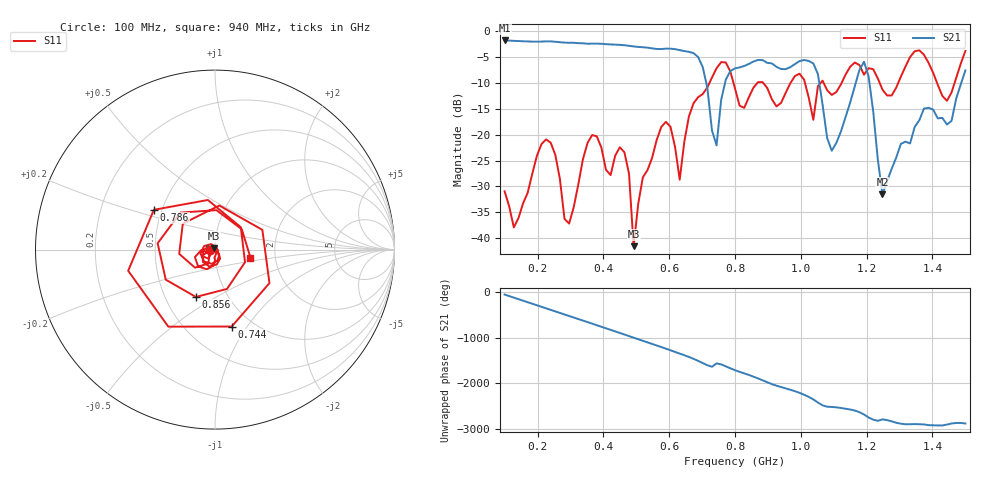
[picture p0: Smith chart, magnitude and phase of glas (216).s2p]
! NanoVNA-App
! Date: 2025-09-25 15:57:09
! Start: 100MHz Stop: 1,5GHz Points: 101
! S-Parameter data: F S11 S21 S12 S22
# Hz S RI R 50
!  Frequency  S11_Real  S11_Imag  S21_Real  S21_Imag  S12_Real  S12_Imag  S22_Real  S22_Imag
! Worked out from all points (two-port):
!   101 points, 100 MHz to 1.5 GHz, reference 50 ohm
!   highest |S21| = -1.80 dB at 100 MHz (marker M1); lowest = -31.5 dB at 1.248 GHz (marker M2)
!   |S21| within 3 dB of the highest: start of sweep to 684.2 MHz
!   lowest |S11| = -41.5 dB at 492 MHz (marker M3), VSWR 1.02, Z = 49.5 + j0.647 ohm
!   |S11| at or under -10 dB: start of sweep to 722.4 MHz; 795.4 MHz to 868.1 MHz (72.78 MHz wide, 8.75 % of centre); 885.8 MHz to 968.7 MHz (82.93 MHz wide, 8.94 % of centre) (the widest 3 of 7)
!   S12 and S22 are empty: the file has one direction only
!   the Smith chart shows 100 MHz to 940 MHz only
!   S11 on the Smith chart (normalised r, x): 100 MHz: 0.95, -0.01; 744 MHz: 0.80, -0.85; 786 MHz: 0.45, +0.24; 856 MHz: 0.71, -0.41; 940 MHz: 1.48, -0.14
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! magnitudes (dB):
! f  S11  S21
! 100 MHz  -30.9  -1.8
! 128 MHz  -37.9  -1.9
! 226 MHz  -20.9  -2.0
! 296 MHz  -37.2  -2.2
! 338 MHz  -24.7  -2.4
! 464 MHz  -23.4  -2.7
! 492 MHz  -41.5  -3.0
! 576 MHz  -18.5  -3.5
! 632 MHz  -28.7  -3.7
! 702 MHz  -12.2  -7.0
! 744 MHz  -7.2  -22.1
! 786 MHz  -7.8  -7.7
! 800 MHz  -11.1  -7.2
! 856 MHz  -10.9  -5.9
! 940 MHz  -13.9  -7.3
! 996 MHz  -8.2  -5.8
! 1.038 GHz  -17.1  -6.2
! 1.094 GHz  -12.3  -23.1
! 1.192 GHz  -8.4  -5.9
! 1.248 GHz  -11.3  -31.5
! 1.276 GHz  -12.4  -26.6
! 1.5 GHz  -3.8  -7.6
